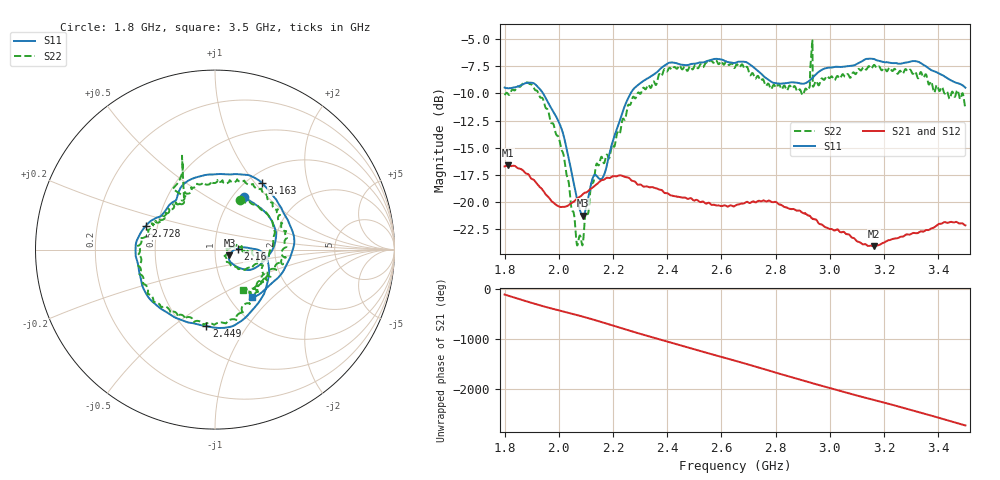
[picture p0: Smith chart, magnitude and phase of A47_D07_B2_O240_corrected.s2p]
! Created with skrf 1.9.0 (http://scikit-rf.org).
# Hz S RI R 50.0
!freq ReS11 ImS11 ReS21 ImS21 ReS12 ImS12 ReS22 ImS22
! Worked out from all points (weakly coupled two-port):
!   1601 points, 1.8 GHz to 3.5 GHz, reference 50 ohm
!   highest |S21| = -16.62 dB at 1.812 GHz (marker M1); lowest = -24.0 dB at 3.161 GHz (marker M2)
!   lowest |S11| = -21.2 dB at 2.089 GHz (marker M3), VSWR 1.19, Z = 58.6 - j3.82 ohm
!   |S11| at or under -10 dB: 1.942 GHz to 2.265 GHz (322.5 MHz wide, 15.3 % of centre)
!   |S22| runs from -24.0 to -5.1 dB; largest |S21 - S12| = 0.0026
!   S11 on the Smith chart (normalised r, x): 1.8 GHz: 1.12, +0.75; 2.16 GHz: 1.30, +0.01; 2.449 GHz: 0.64, -0.67; 2.728 GHz: 0.43, +0.13; 3.163 GHz: 1.16, +1.09; 3.5 GHz: 1.27, -0.76
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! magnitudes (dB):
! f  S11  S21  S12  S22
! 1.8 GHz  -9.5  -16.7  -16.7  -10.1
! 1.812 GHz  -9.5  -16.6  -16.6  -10.0
! 1.883 GHz  -9.0  -17.4  -17.4  -9.0
! 1.941 GHz  -10.0  -18.9  -18.9  -10.5
! 2.011 GHz  -13.3  -20.4  -20.4  -15.3
! 2.066 GHz  -19.5  -19.7  -19.7  -23.7
! 2.084 GHz  -21.1  -19.4  -19.4  -23.7
! 2.089 GHz  -21.2  -19.3  -19.3  -23.8
! 2.127 GHz  -17.6  -18.6  -18.6  -18.2
! 2.16 GHz  -17.8  -18.0  -17.9  -15.9
! 2.261 GHz  -10.2  -17.8  -17.8  -11.1
! 2.367 GHz  -7.9  -18.8  -18.8  -8.4
! 2.449 GHz  -7.3  -19.5  -19.5  -7.6
! 2.65 GHz  -7.2  -20.3  -20.3  -7.6
! 2.728 GHz  -7.8  -20.0  -20.0  -8.6
! 2.9 GHz  -9.1  -21.0  -21.0  -10.1
! 2.934 GHz  -8.6  -21.5  -21.5  -5.6
! 2.945 GHz  -8.3  -21.6  -21.6  -9.0
! 3.161 GHz  -6.8  -24.0  -24.0  -7.4
! 3.163 GHz  -6.8  -24.0  -24.0  -7.4
! 3.217 GHz  -7.2  -23.5  -23.5  -7.7
! 3.5 GHz  -9.5  -22.1  -22.1  -11.3
